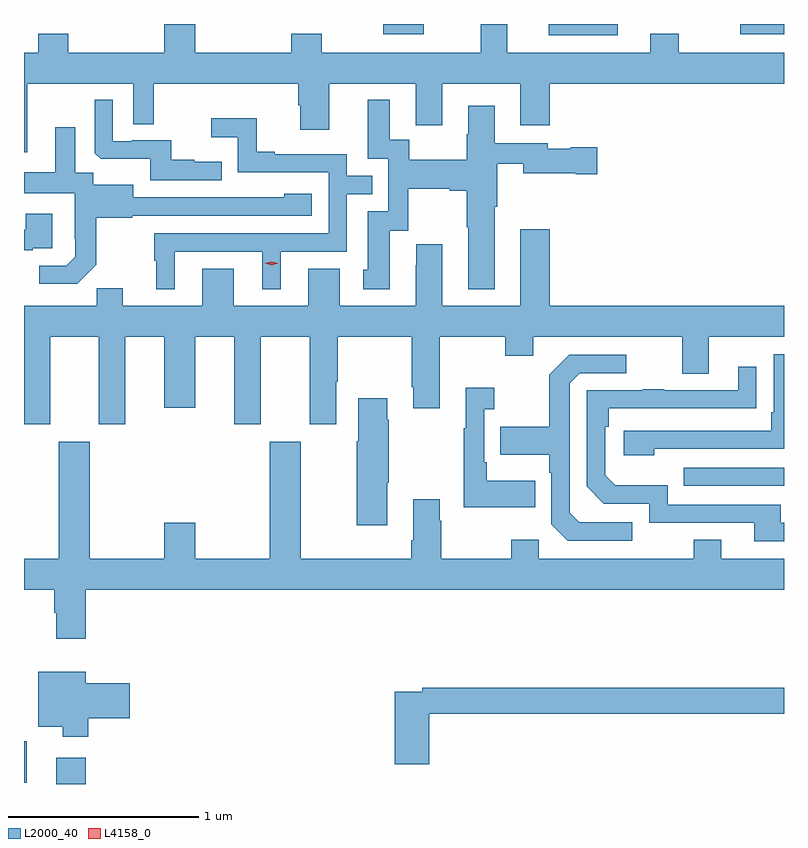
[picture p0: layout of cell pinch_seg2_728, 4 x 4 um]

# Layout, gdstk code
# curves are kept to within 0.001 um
import gdstk
lib = gdstk.Library(unit=1e-6, precision=1e-09)
def R(c, l, rs):  # rectangles x0, y0, x1, y1
    for r in rs: c.add(gdstk.rectangle(r[:2], r[2:], *l))
def P(c, l, *ps):  # polygons
    for p in ps: c.add(gdstk.Polygon(p, *l))
L2000_40 = (2000, 40)
L4158_0 = (4158, 0)

pinch_seg2_728 = lib.new_cell('pinch_seg2_728')
R(pinch_seg2_728, L2000_40, [(823.781,642.618,823.934,642.757), (823.61,642.624,823.624,642.843), (827.083,644.187,827.61,644.283), (826.371,646.56,826.735,646.618), (825.501,646.563,825.715,646.618), (827.379,646.563,827.61,646.618)])
P(pinch_seg2_728, L2000_40, [(824.184,646.09),(824.293,646.09),(824.293,646.304),(825.053,646.304),(825.053,646.191),(825.065,646.191),(825.065,646.062),(825.217,646.062),(825.217,646.304),(825.671,646.304),(825.671,646.086),(825.811,646.086),(825.811,646.304),(826.223,646.304),(826.223,646.086),(826.376,646.086),(826.376,646.304),(827.61,646.304),(827.61,646.468),(827.055,646.468),(827.055,646.567),(826.907,646.567),(826.907,646.468),(826.153,646.468),(826.153,646.618),(826.013,646.618),(826.013,646.468),(825.177,646.468),(825.177,646.567),(825.017,646.567),(825.017,646.468),(824.512,646.468),(824.512,646.618),(824.348,646.618),(824.348,646.468),(823.844,646.468),(823.844,646.567),(823.684,646.567),(823.684,646.468),(823.61,646.468),(823.61,645.942),(823.627,645.942),(823.627,646.304),(824.184,646.304)],
  [(826.087,645.656),(826.1,645.656),(826.1,645.882),(826.238,645.882),(826.238,645.832),(826.514,645.832),(826.514,645.827),(826.627,645.827),(826.627,645.969),(826.488,645.969),(826.488,645.961),(826.366,645.961),(826.366,645.99),(826.087,645.99),(826.087,646.189),(825.947,646.189),(825.947,646.038),(825.94,646.038),(825.94,645.904),(825.637,645.904),(825.637,646.01),(825.535,646.01),(825.535,646.219),(825.419,646.219),(825.419,645.909),(825.528,645.909),(825.528,645.633),(825.419,645.633),(825.419,645.324),(825.395,645.324),(825.395,645.222),(825.535,645.222),(825.535,645.53),(825.633,645.53),(825.633,645.752),(825.851,645.752),(825.851,645.74),(825.94,645.74),(825.94,645.547),(825.947,645.547),(825.947,645.221),(826.087,645.221)],
  [(824.651,645.892),(824.507,645.892),(824.507,645.904),(824.384,645.904),(824.384,646.005),(824.176,646.005),(824.176,646.002),(824.076,646.002),(824.076,646.219),(823.983,646.219),(823.983,645.939),(824.015,645.908),(824.274,645.908),(824.274,645.795),(824.651,645.795)],
  [(824.404,645.42),(824.864,645.42),(824.864,645.221),(824.962,645.221),(824.962,645.42),(825.309,645.42),(825.309,645.723),(825.443,645.723),(825.443,645.819),(825.309,645.819),(825.309,645.933),(824.929,645.933),(824.929,645.946),(824.835,645.946),(824.835,646.121),(824.595,646.121),(824.595,646.022),(824.736,646.022),(824.736,645.837),(825.213,645.837),(825.213,645.516),(824.295,645.516),(824.295,645.372),(824.306,645.372),(824.306,645.221),(824.404,645.221)],
  [(823.989,645.351),(823.989,645.597),(824.181,645.597),(824.181,645.609),(825.124,645.609),(825.124,645.724),(824.979,645.724),(824.979,645.706),(824.185,645.705),(824.185,645.772),(823.974,645.772),(823.974,645.836),(823.879,645.836),(823.879,646.075),(823.775,646.075),(823.775,645.838),(823.61,645.838),(823.61,645.728),(823.878,645.728),(823.878,645.487),(823.88,645.487),(823.88,645.392),(823.833,645.345),(823.689,645.345),(823.689,645.251),(823.889,645.251)],
  [(823.655,645.438),(823.759,645.438),(823.759,645.619),(823.619,645.619),(823.619,645.534),(823.61,645.534),(823.61,645.426),(823.655,645.426)],
  [(825.113,644.511),(825.253,644.511),(825.253,644.734),(825.261,644.734),(825.261,644.972),(825.652,644.972),(825.652,644.707),(825.659,644.707),(825.659,644.595),(825.799,644.595),(825.799,644.972),(826.144,644.972),(826.144,644.873),(826.291,644.873),(826.291,644.972),(827.075,644.972),(827.075,644.778),(827.215,644.778),(827.215,644.972),(827.61,644.972),(827.61,645.136),(826.376,645.136),(826.376,645.538),(826.223,645.538),(826.223,645.136),(825.811,645.136),(825.811,645.46),(825.674,645.46),(825.674,645.347),(825.671,645.347),(825.671,645.136),(825.271,645.136),(825.271,645.331),(825.107,645.331),(825.107,645.136),(824.713,645.136),(824.713,645.331),(824.549,645.331),(824.549,645.136),(824.131,645.136),(824.131,645.227),(823.993,645.227),(823.993,645.136),(823.61,645.136),(823.61,644.511),(823.747,644.511),(823.747,644.972),(824.003,644.972),(824.003,644.511),(824.143,644.511),(824.143,644.972),(824.348,644.972),(824.348,644.598),(824.512,644.598),(824.512,644.972),(824.717,644.972),(824.717,644.511),(824.857,644.511),(824.857,644.972),(825.113,644.972)],
  [(826.928,644.382),(827.61,644.382),(827.61,644.88),(827.556,644.88),(827.556,644.575),(827.543,644.575),(827.543,644.478),(826.767,644.478),(826.767,644.348),(826.928,644.348)],
  [(826.81,643.995),(826.533,643.995),(826.482,644.046),(826.482,644.727),(826.536,644.781),(826.78,644.781),(826.78,644.877),(826.479,644.877),(826.374,644.771),(826.374,644.499),(826.117,644.499),(826.117,644.351),(826.374,644.351),(826.374,644.255),(826.386,644.255),(826.386,643.986),(826.473,643.899),(826.81,643.899)],
  [(827.61,643.992),(827.593,643.992),(827.593,644.088),(826.998,644.088),(826.998,644.191),(826.721,644.191),(826.668,644.244),(826.668,644.498),(826.688,644.498),(826.688,644.595),(827.465,644.596),(827.465,644.815),(827.369,644.815),(827.369,644.691),(826.979,644.691),(826.979,644.696),(826.867,644.696),(826.867,644.691),(826.572,644.691),(826.572,644.184),(826.662,644.094),(826.902,644.094),(826.902,643.992),(827.453,643.992),(827.453,643.896),(827.61,643.896)],
  [(826.301,644.215),(826.045,644.215),(826.045,644.311),(826.032,644.311),(826.032,644.591),(826.084,644.591),(826.084,644.704),(825.935,644.704),(825.935,644.491),(825.924,644.491),(825.924,644.075),(826.301,644.075)],
  [(825.523,644.203),(825.531,644.203),(825.531,644.534),(825.523,644.534),(825.523,644.647),(825.368,644.647),(825.368,644.423),(825.361,644.423),(825.361,643.98),(825.523,643.98)],
  [(823.934,643.64),(827.61,643.64),(827.61,643.804),(827.281,643.804),(827.281,643.903),(827.134,643.903),(827.134,643.804),(826.32,643.804),(826.32,643.903),(826.174,643.903),(826.174,643.804),(825.807,643.804),(825.807,644.003),(825.799,644.003),(825.799,644.116),(825.659,644.116),(825.659,643.9),(825.647,643.9),(825.647,643.804),(825.067,643.804),(825.067,644.419),(824.903,644.419),(824.903,643.804),(824.512,643.804),(824.512,643.993),(824.348,643.993),(824.348,643.804),(823.957,643.804),(823.957,644.419),(823.793,644.419),(823.793,643.804),(823.61,643.804),(823.61,643.64),(823.769,643.64),(823.769,643.52),(823.781,643.52),(823.781,643.383),(823.934,643.383)],
  [(823.949,642.965),(824.167,642.965),(824.167,643.148),(823.936,643.148),(823.936,643.21),(823.685,643.21),(823.685,642.92),(823.814,642.92),(823.814,642.866),(823.949,642.866)],
  [(825.743,642.988),(827.61,642.988),(827.61,643.124),(825.706,643.124),(825.706,643.104),(825.56,643.104),(825.56,642.723),(825.743,642.723)])
P(pinch_seg2_728, L4158_0, [(824.913,645.348),(824.877,645.358),(824.877,645.358),(824.877,645.358),(824.913,645.368),(824.949,645.358),(824.949,645.358),(824.949,645.358)])

lib.write_gds('pinch_seg2_728.gds')
